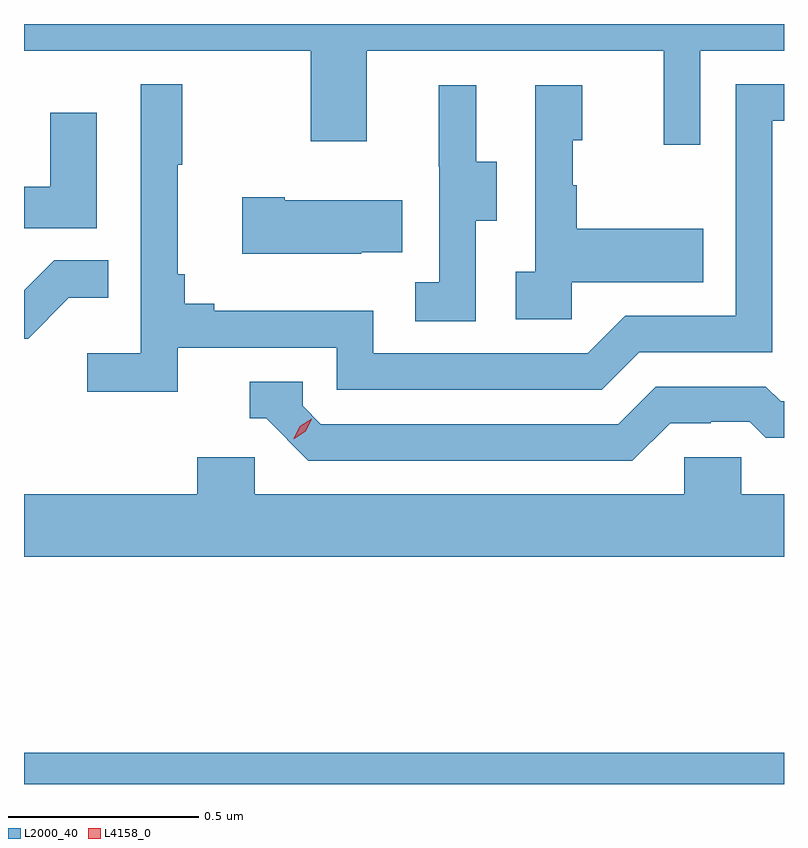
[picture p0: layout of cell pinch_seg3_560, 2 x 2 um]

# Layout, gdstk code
import gdstk
lib = gdstk.Library(unit=1e-6, precision=1e-09)
def R(c, l, rs):  # rectangles x0, y0, x1, y1
    for r in rs: c.add(gdstk.rectangle(r[:2], r[2:], *l))
def P(c, l, *ps):  # polygons
    for p in ps: c.add(gdstk.Polygon(p, *l))
L2000_40 = (2000, 40)
L4158_0 = (4158, 0)

pinch_seg3_560 = lib.new_cell('pinch_seg3_560')
R(pinch_seg3_560, L2000_40, [(1090.145,702.982,1092.145,703.064)])
P(pinch_seg3_560, L2000_40, [(1091.925,704.912),(1092.145,704.912),(1092.145,704.982),(1090.145,704.982),(1090.145,704.912),(1090.9,704.912),(1090.9,704.673),(1091.047,704.673),(1091.047,704.912),(1091.828,704.912),(1091.828,704.664),(1091.925,704.664)],
  [(1090.55,704.13),(1090.968,704.13),(1090.968,704.019),(1091.665,704.019),(1091.764,704.118),(1092.114,704.118),(1092.114,704.727),(1092.145,704.727),(1092.145,704.823),(1092.018,704.823),(1092.018,704.214),(1091.727,704.214),(1091.628,704.115),(1091.064,704.115),(1091.064,704.227),(1090.645,704.227),(1090.645,704.246),(1090.568,704.246),(1090.568,704.323),(1090.549,704.323),(1090.549,704.611),(1090.561,704.611),(1090.561,704.824),(1090.452,704.824),(1090.452,704.116),(1090.311,704.116),(1090.311,704.014),(1090.55,704.014)],
  [(1091.334,704.464),(1091.389,704.464),(1091.389,704.619),(1091.335,704.619),(1091.335,704.821),(1091.237,704.821),(1091.237,704.607),(1091.238,704.607),(1091.238,704.303),(1091.175,704.303),(1091.175,704.2),(1091.334,704.2)],
  [(1091.586,704.303),(1091.933,704.303),(1091.933,704.443),(1091.599,704.443),(1091.599,704.558),(1091.589,704.558),(1091.589,704.676),(1091.614,704.676),(1091.614,704.821),(1091.49,704.821),(1091.49,704.33),(1091.439,704.33),(1091.439,704.205),(1091.586,704.205)],
  [(1090.336,704.749),(1090.214,704.749),(1090.214,704.554),(1090.145,704.554),(1090.145,704.445),(1090.336,704.445)],
  [(1091.033,704.381),(1091.141,704.381),(1091.141,704.518),(1090.831,704.518),(1090.831,704.526),(1090.719,704.526),(1090.719,704.378),(1091.033,704.378)],
  [(1090.263,704.261),(1090.367,704.261),(1090.367,704.36),(1090.224,704.36),(1090.145,704.281),(1090.145,704.154),(1090.156,704.154)],
  [(1091.845,703.932),(1091.952,703.932),(1091.952,703.935),(1092.055,703.935),(1092.097,703.893),(1092.145,703.893),(1092.145,703.989),(1092.136,703.989),(1092.097,704.028),(1091.808,704.028),(1091.709,703.929),(1090.926,703.929),(1090.878,703.977),(1090.878,704.04),(1090.739,704.04),(1090.739,703.944),(1090.782,703.944),(1090.893,703.833),(1091.746,703.833)],
  [(1092.145,703.744),(1092.033,703.744),(1092.033,703.842),(1091.883,703.842),(1091.883,703.744),(1090.752,703.744),(1090.752,703.842),(1090.601,703.842),(1090.601,703.744),(1090.145,703.744),(1090.145,703.58),(1092.145,703.58)])
P(pinch_seg3_560, L4158_0, [(1090.855,703.89),(1090.855,703.89),(1090.871,703.923),(1090.902,703.943),(1090.902,703.943),(1090.902,703.943),(1090.886,703.91),(1090.856,703.89)])

lib.write_gds('pinch_seg3_560.gds')
